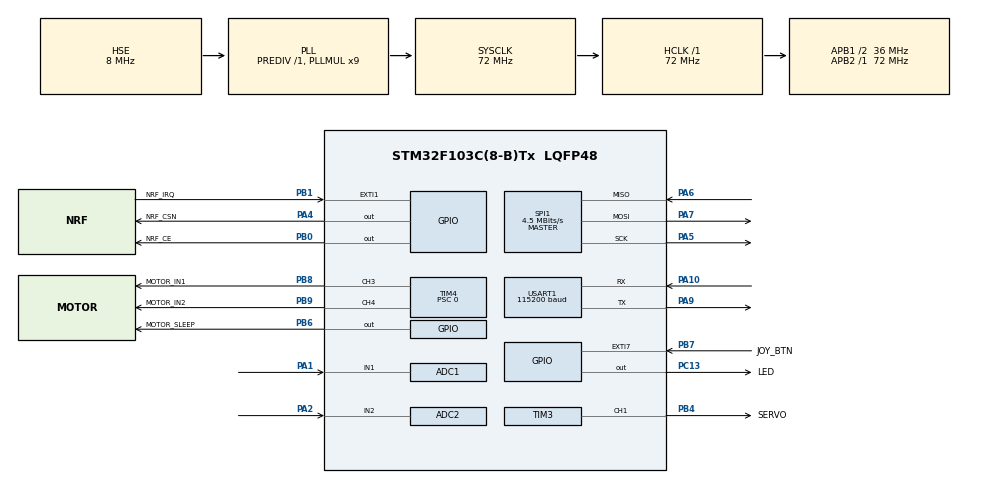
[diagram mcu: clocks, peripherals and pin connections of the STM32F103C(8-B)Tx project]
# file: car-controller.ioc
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ADC1.Channel-2\#ChannelRegularConversion=ADC_CHANNEL_1
ADC1.ContinuousConvMode=ENABLE
ADC1.Mode=ADC_DUALMODE_REGSIMULT
ADC1.NbrOfConversion=1
ADC1.NbrOfConversionFlag=1
ADC1.Rank-2\#ChannelRegularConversion=1
ADC1.SamplingTime-2\#ChannelRegularConversion=ADC_SAMPLETIME_1CYCLE_5
ADC1.master=1
ADC2.Channel-1\#ChannelRegularConversion=ADC_CHANNEL_2
ADC2.Mode=ADC_DUALMODE_REGSIMULT
ADC2.NbrOfConversionFlag=1
ADC2.Rank-1\#ChannelRegularConversion=1
ADC2.SamplingTime-1\#ChannelRegularConversion=ADC_SAMPLETIME_1CYCLE_5
Dma.ADC1.0.Direction=DMA_PERIPH_TO_MEMORY
Dma.ADC1.0.Instance=DMA1_Channel1
Dma.ADC1.0.MemDataAlignment=DMA_MDATAALIGN_WORD
Dma.ADC1.0.MemInc=DMA_MINC_ENABLE
Dma.ADC1.0.Mode=DMA_NORMAL
Dma.ADC1.0.PeriphDataAlignment=DMA_PDATAALIGN_WORD
Dma.ADC1.0.PeriphInc=DMA_PINC_DISABLE
Dma.ADC1.0.Priority=DMA_PRIORITY_LOW
Dma.Request0=ADC1
FREERTOS.Queues01=qMotor,64,int16_t,0,Dynamic,NULL,NULL;qSteer,64,int16_t,0,Dynamic,NULL,NULL
FREERTOS.Tasks01=defaultTask,8,128,StartDefaultTask,Default,NULL,Dynamic,NULL,NULL;joystickTask,8,128,StartJoistickTask,Default,NULL,Dynamic,NULL,NULL;motorTask,24,128,StartMotorTask,Default,NULL,Dynamic,NULL,NULL;steerTask,24,128,StartSteerTask,Default,NULL,Dynamic,NULL,NULL
FREERTOS.configGENERATE_RUN_TIME_STATS=1
FREERTOS.configMAX_TASK_NAME_LEN=16
FREERTOS.configTOTAL_HEAP_SIZE=3840
FREERTOS.configUSE_STATS_FORMATTING_FUNCTIONS=1
FREERTOS.configUSE_TRACE_FACILITY=1
Mcu.Family=STM32F1
Mcu.Name=STM32F103C(8-B)Tx
Mcu.Package=LQFP48
NVIC.DMA1_Channel1_IRQn=true\:5\:0\:false\:false\:true\:true\:false\:true
NVIC.PriorityGroup=NVIC_PRIORITYGROUP_4
NVIC.TIM1_UP_IRQn=true\:0\:0\:false\:false\:true\:false\:false\:true
NVIC.TimeBase=TIM1_UP_IRQn
NVIC.TimeBaseIP=TIM1
PA1.Signal=ADCx_IN1
PA10.Mode=Asynchronous
PA10.Signal=USART1_RX
PA13.Mode=Serial_Wire
PA13.Signal=SYS_JTMS-SWDIO
PA14.Mode=Serial_Wire
PA14.Signal=SYS_JTCK-SWCLK
PA2.Signal=ADCx_IN2
PA4.GPIO_Label=NRF_CSN
PA4.Signal=GPIO_Output
PA5.Mode=Full_Duplex_Master
PA5.Signal=SPI1_SCK
PA6.Mode=Full_Duplex_Master
PA6.Signal=SPI1_MISO
PA7.Mode=Full_Duplex_Master
PA7.Signal=SPI1_MOSI
PA9.Mode=Asynchronous
PA9.Signal=USART1_TX
PB0.GPIO_Label=NRF_CE
PB0.Signal=GPIO_Output
PB1.GPIO_Label=NRF_IRQ
PB1.GPIO_ModeDefaultEXTI=GPIO_MODE_IT_FALLING
PB1.Signal=GPXTI1
PB4.GPIO_Label=SERVO
PB4.Signal=S_TIM3_CH1
PB6.GPIO_Label=MOTOR_SLEEP
PB6.Signal=GPIO_Output
PB7.GPIO_Label=JOY_BTN
PB7.GPIO_ModeDefaultEXTI=GPIO_MODE_IT_FALLING
PB7.Signal=GPXTI7
PB8.GPIO_Label=MOTOR_IN1
PB8.Signal=S_TIM4_CH3
PB9.GPIO_Label=MOTOR_IN2
PB9.Signal=S_TIM4_CH4
PC13-TAMPER-RTC.GPIO_Label=LED
PC13-TAMPER-RTC.GPIO_ModeDefaultOutputPP=GPIO_MODE_OUTPUT_OD
PC13-TAMPER-RTC.PinState=GPIO_PIN_SET
PC13-TAMPER-RTC.Signal=GPIO_Output
PD0-OSC_IN.Mode=HSE-External-Oscillator
PD0-OSC_IN.Signal=RCC_OSC_IN
PD1-OSC_OUT.Mode=HSE-External-Oscillator
PD1-OSC_OUT.Signal=RCC_OSC_OUT
ProjectManager.HeapSize=0x200
ProjectManager.StackSize=0x400
ProjectManager.TargetToolchain=STM32CubeIDE
RCC.ADCPresc=RCC_ADCPCLK2_DIV8
RCC.AHBFreq_Value=72000000
RCC.APB1CLKDivider=RCC_HCLK_DIV2
RCC.APB1Freq_Value=36000000
RCC.APB1TimFreq_Value=72000000
RCC.APB2Freq_Value=72000000
RCC.APB2TimFreq_Value=72000000
RCC.HCLKFreq_Value=72000000
RCC.PLLMUL=RCC_PLL_MUL9
RCC.PLLSourceVirtual=RCC_PLLSOURCE_HSE
RCC.SYSCLKFreq_VALUE=72000000
RCC.SYSCLKSource=RCC_SYSCLKSOURCE_PLLCLK
RCC.USBFreq_Value=72000000
SH.ADCx_IN1.0=ADC1_IN1,IN1
SH.ADCx_IN2.0=ADC2_IN2,IN2
SH.S_TIM3_CH1.0=TIM3_CH1,PWM Generation1 CH1
SH.S_TIM4_CH3.0=TIM4_CH3,PWM Generation3 CH3
SH.S_TIM4_CH4.0=TIM4_CH4,PWM Generation4 CH4
SPI1.BaudRatePrescaler=SPI_BAUDRATEPRESCALER_16
SPI1.CalculateBaudRate=4.5 MBits/s
SPI1.Direction=SPI_DIRECTION_2LINES
SPI1.Mode=SPI_MODE_MASTER
SPI1.VirtualType=VM_MASTER
TIM3.Channel-PWM\ Generation1\ CH1=TIM_CHANNEL_1
TIM3.Period=23999
TIM3.Prescaler=59
TIM4.Channel-PWM\ Generation3\ CH3=TIM_CHANNEL_3
TIM4.Channel-PWM\ Generation4\ CH4=TIM_CHANNEL_4
TIM4.Period=14399
TIM4.Prescaler=0
TIM4.Pulse-PWM\ Generation3\ CH3=0
USART1.BaudRate=115200
USART1.VirtualMode=VM_ASYNC
VP_FREERTOS_VS_CMSIS_V2.Mode=CMSIS_V2
VP_SYS_VS_tim1.Mode=TIM1
VP_TIM4_VS_ClockSourceINT.Mode=Internal
board=custom

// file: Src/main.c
/* USER CODE BEGIN Header */
/**
  ******************************************************************************
  * @file           : main.c
  * @brief          : Main program body
  ******************************************************************************
  * @attention
  *
  * <h2><center>&copy; Copyright (c) 2021 STMicroelectronics.
  * All rights reserved.</center></h2>
  *
  * This software component is licensed by ST under Ultimate Liberty license
  * SLA0044, the "License"; You may not use this file except in compliance with
  * the License. You may obtain a copy of the License at:
  *                             www.st.com/SLA0044
  *
  ******************************************************************************
  */
/* USER CODE END Header */

#include "main.h"
#include "cmsis_os.h"
#include "adc.h"
#include "dma.h"
#include "spi.h"
#include "tim.h"
#include "usart.h"
#include "gpio.h"

void SystemClock_Config(void);
void MX_FREERTOS_Init(void);

int main(void)
{

  /* MCU Configuration--------------------------------------------------------*/

  /* Reset of all peripherals, Initializes the Flash interface and the Systick. */
  HAL_Init();

  /* Configure the system clock */
  SystemClock_Config();

  /* Initialize all configured peripherals */
  MX_GPIO_Init();
  MX_DMA_Init();
  MX_ADC1_Init();
  MX_TIM4_Init();
  MX_ADC2_Init();
  MX_USART1_UART_Init();
  MX_SPI1_Init();
  MX_TIM3_Init();

  /* Init scheduler */
  osKernelInitialize();  /* Call init function for freertos objects (in freertos.c) */
  MX_FREERTOS_Init();
  /* Start scheduler */
  osKernelStart();

  /* We should never get here as control is now taken by the scheduler */
  /* Infinite loop */
  while (1)
  {

  }
}

void SystemClock_Config(void)
{
  RCC_OscInitTypeDef RCC_OscInitStruct = {0};
  RCC_ClkInitTypeDef RCC_ClkInitStruct = {0};
  RCC_PeriphCLKInitTypeDef PeriphClkInit = {0};

  /** Initializes the CPU, AHB and APB busses clocks
  */
  RCC_OscInitStruct.OscillatorType = RCC_OSCILLATORTYPE_HSE;
  RCC_OscInitStruct.HSEState = RCC_HSE_ON;
  RCC_OscInitStruct.HSEPredivValue = RCC_HSE_PREDIV_DIV1;
  RCC_OscInitStruct.HSIState = RCC_HSI_ON;
  RCC_OscInitStruct.PLL.PLLState = RCC_PLL_ON;
  RCC_OscInitStruct.PLL.PLLSource = RCC_PLLSOURCE_HSE;
  RCC_OscInitStruct.PLL.PLLMUL = RCC_PLL_MUL9;
  if (HAL_RCC_OscConfig(&RCC_OscInitStruct) != HAL_OK)
  {
    Error_Handler();
  }
  /** Initializes the CPU, AHB and APB busses clocks
  */
  RCC_ClkInitStruct.ClockType = RCC_CLOCKTYPE_HCLK|RCC_CLOCKTYPE_SYSCLK
                              |RCC_CLOCKTYPE_PCLK1|RCC_CLOCKTYPE_PCLK2;
  RCC_ClkInitStruct.SYSCLKSource = RCC_SYSCLKSOURCE_PLLCLK;
  RCC_ClkInitStruct.AHBCLKDivider = RCC_SYSCLK_DIV1;
  RCC_ClkInitStruct.APB1CLKDivider = RCC_HCLK_DIV2;
  RCC_ClkInitStruct.APB2CLKDivider = RCC_HCLK_DIV1;

  if (HAL_RCC_ClockConfig(&RCC_ClkInitStruct, FLASH_LATENCY_2) != HAL_OK)
  {
    Error_Handler();
  }
  PeriphClkInit.PeriphClockSelection = RCC_PERIPHCLK_ADC;
  PeriphClkInit.AdcClockSelection = RCC_ADCPCLK2_DIV8;
  if (HAL_RCCEx_PeriphCLKConfig(&PeriphClkInit) != HAL_OK)
  {
    Error_Handler();
  }
}

/* USER CODE BEGIN 4 */
float map(float val, float I_Min, float I_Max, float O_Min, float O_Max)
{
    return(((val - I_Min) * ((O_Max - O_Min) / (I_Max - I_Min))) + O_Min);
}

/* USER CODE END 4 */

 /**
  * @brief  Period elapsed callback in non blocking mode
  * @note   This function is called  when TIM1 interrupt took place, inside
  * HAL_TIM_IRQHandler(). It makes a direct call to HAL_IncTick() to increment
  * a global variable "uwTick" used as application time base.
  * @param  htim : TIM handle
  * @retval None
  */
void HAL_TIM_PeriodElapsedCallback(TIM_HandleTypeDef *htim)
{
  if (htim->Instance == TIM1) {
    HAL_IncTick();
  }
}

void Error_Handler(void)
{
}

/************************ (C) COPYRIGHT STMicroelectronics *****END OF FILE****/

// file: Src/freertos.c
/* USER CODE BEGIN Header */
/**
  ******************************************************************************
  * File Name          : freertos.c
  * Description        : Code for freertos applications
  ******************************************************************************
  * @attention
  *
  * <h2><center>&copy; Copyright (c) 2021 STMicroelectronics.
  * All rights reserved.</center></h2>
  *
  * This software component is licensed by ST under Ultimate Liberty license
  * SLA0044, the "License"; You may not use this file except in compliance with
  * the License. You may obtain a copy of the License at:
  *                             www.st.com/SLA0044
  *
  ******************************************************************************
  */
/* USER CODE END Header */

#include "FreeRTOS.h"
#include "task.h"
#include "main.h"
#include "cmsis_os.h"

/* USER CODE BEGIN Includes */
#include <stdlib.h>

#include "gpio.h"
#include "usart.h"
#include "adc.h"
#include "tim.h"
#include "queue.h"
//#include "iwdg.h"
/* USER CODE END Includes */

/* USER CODE BEGIN Variables */
uint8_t adcReady;

/* USER CODE END Variables */
/* Definitions for defaultTask */
osThreadId_t defaultTaskHandle;
const osThreadAttr_t defaultTask_attributes = {
  .name = "defaultTask",
  .priority = (osPriority_t) osPriorityLow,
  .stack_size = 128 * 4
};
/* Definitions for joystickTask */
osThreadId_t joystickTaskHandle;
const osThreadAttr_t joystickTask_attributes = {
  .name = "joystickTask",
  .priority = (osPriority_t) osPriorityLow,
  .stack_size = 128 * 4
};
/* Definitions for motorTask */
osThreadId_t motorTaskHandle;
const osThreadAttr_t motorTask_attributes = {
  .name = "motorTask",
  .priority = (osPriority_t) osPriorityNormal,
  .stack_size = 128 * 4
};
/* Definitions for steerTask */
osThreadId_t steerTaskHandle;
const osThreadAttr_t steerTask_attributes = {
  .name = "steerTask",
  .priority = (osPriority_t) osPriorityNormal,
  .stack_size = 128 * 4
};
/* Definitions for qMotor */
osMessageQueueId_t qMotorHandle;
const osMessageQueueAttr_t qMotor_attributes = {
  .name = "qMotor"
};
/* Definitions for qSteer */
osMessageQueueId_t qSteerHandle;
const osMessageQueueAttr_t qSteer_attributes = {
  .name = "qSteer"
};

void StartDefaultTask(void *argument);
void StartJoistickTask(void *argument);
void StartMotorTask(void *argument);
void StartSteerTask(void *argument);

void MX_FREERTOS_Init(void); /* (MISRA C 2004 rule 8.1) */

/* Hook prototypes */
void configureTimerForRunTimeStats(void);
unsigned long getRunTimeCounterValue(void);

/* USER CODE BEGIN 1 */
/* Functions needed when configGENERATE_RUN_TIME_STATS is on */
__weak void configureTimerForRunTimeStats(void)
{

}

__weak unsigned long getRunTimeCounterValue(void)
{
return 0;
}
/* USER CODE END 1 */

void MX_FREERTOS_Init(void) {

  /* Create the queue(s) */
  /* creation of qMotor */
  qMotorHandle = osMessageQueueNew (64, sizeof(int16_t), &qMotor_attributes);

  /* creation of qSteer */
  qSteerHandle = osMessageQueueNew (64, sizeof(int16_t), &qSteer_attributes);

  /* Create the thread(s) */
  /* creation of defaultTask */
  defaultTaskHandle = osThreadNew(StartDefaultTask, NULL, &defaultTask_attributes);

  /* creation of joystickTask */
  joystickTaskHandle = osThreadNew(StartJoistickTask, NULL, &joystickTask_attributes);

  /* creation of motorTask */
  motorTaskHandle = osThreadNew(StartMotorTask, NULL, &motorTask_attributes);

  /* creation of steerTask */
  steerTaskHandle = osThreadNew(StartSteerTask, NULL, &steerTask_attributes);

}

void StartDefaultTask(void *argument)
{
  /* USER CODE BEGIN StartDefaultTask */
  xprintf(&huart1, "Starting the blinker..\n");
  /* Infinite loop */
  for(;;)
  {
    ledOn();
    osDelay(LED_BLINK_PERIOD_MS / portTICK_PERIOD_MS);

    ledToggle();
    osDelay(LED_BLINK_PERIOD_MS / portTICK_PERIOD_MS);

    ledToggle();
    osDelay(LED_BLINK_PERIOD_MS / portTICK_PERIOD_MS);

    ledToggle();
    osDelay((1000 - 3 * LED_BLINK_PERIOD_MS) / portTICK_PERIOD_MS);

    //HAL_IWDG_Refresh(&hiwdg);
  }
  /* USER CODE END StartDefaultTask */
}

void StartJoistickTask(void *argument)
{
  /* USER CODE BEGIN StartJoistickTask */
  volatile uint16_t adc[2 * JS_AVG_FACTOR] = { 0, };
  int16_t  posSteer = 0, posMotor = 0;
  int16_t   calSteer = 0, calMotor = 0, calCycle = 0;

  adcReady = 0;

  HAL_ADCEx_Calibration_Start(&hadc1);
  HAL_ADCEx_Calibration_Start(&hadc2);

  osDelay(50 / portTICK_PERIOD_MS);

  HAL_ADC_Start(&hadc2);
  HAL_ADCEx_MultiModeStart_DMA(&hadc1, (uint32_t*)&adc, JS_AVG_FACTOR);

  /* Infinite loop */
  for(;;)
  {
    uint32_t adcSteer = 0, adcMotor = 0;

    if (adcReady) {
      adcReady = 0;

      if (calCycle > JS_IDLE_CYCLES) {

        for (size_t i = 0; i < 2 * JS_AVG_FACTOR; ++i) {
          if (i % 2)
            adcSteer += adc[i];
          else
            adcMotor += adc[i];
        }

        if ((!calMotor) || (calCycle > JS_IDLE_CYCLES + 250))
          calMotor = adcMotor / JS_AVG_FACTOR;

        if ((!calSteer) || (calCycle > JS_IDLE_CYCLES + 250))
          calSteer = adcSteer / JS_AVG_FACTOR;

        adcSteer = (ADC_MAX_VALUE - (adcSteer / JS_AVG_FACTOR)) /*- calSteer*/;
        adcMotor = (ADC_MAX_VALUE - (adcMotor / JS_AVG_FACTOR)) /*- calMotor*/;

        if (abs(posSteer - adcSteer) > JS_TOLERANCE) {
          posSteer = adcSteer;
          if (uxQueueSpacesAvailable(qSteerHandle)) {
            xQueueSend(qSteerHandle, &posSteer, portMAX_DELAY);
          }

          //xprintf(&huart1, "Steer: %4d\n", posSteer);
        }
        if (abs(posMotor - adcMotor) > JS_TOLERANCE) {
          posMotor = adcMotor;

          if (uxQueueSpacesAvailable(qMotorHandle)) {
            xQueueSend(qMotorHandle, &posMotor, portMAX_DELAY);
          }

          //xprintf(&huart1, "Motor: %4d\n", posMotor);
        }

        /*if ((posSteer == adcSteer) && (posMotor == adcMotor) &&
            (posSteer < 100) && (posMotor < 100))
          calCycle++;
        else
          calCycle = JS_IDLE_CYCLES + 1;
        */

        //xprintf(&huart1, "Motor: %5d; Steer: %5d\n", posMotor, posSteer);

      }
      else {
        calCycle++;
      }
      HAL_ADCEx_MultiModeStart_DMA(&hadc1, (uint32_t*)&adc, JS_AVG_FACTOR);
    }

    osDelay(FREERTOS_TASK_PERIOD_MS / portTICK_PERIOD_MS);
  }
  /* USER CODE END StartJoistickTask */
}

void StartMotorTask(void *argument)
{
  /* USER CODE BEGIN StartMotorTask */
  uint32_t arr = TIM4->ARR + 1;
  uint16_t code;
  int16_t throttle = 0;

  xprintf(&huart1, "Starting Motor PWM...\n");

  HAL_TIM_PWM_Start(&htim4, TIM_CHANNEL_3);
  HAL_TIM_PWM_Start(&htim4, TIM_CHANNEL_4);

  /* Infinite loop */
  for(;;)
  {
    if (uxQueueMessagesWaiting(qMotorHandle)) {
      if (pdPASS == xQueueReceive(qMotorHandle, &code, portMAX_DELAY)) {
        // Forward slow decay
        if (code >= ((ADC_MAX_VALUE / 2) + JS_TOLERANCE * 2)) {

          throttle = map(code, ADC_MAX_VALUE / 2, ADC_MAX_VALUE, arr / 3, arr);
          throttle = constrain(throttle, 0, arr);

          TIM4->CCR3 = 0;
          TIM4->CCR4 = throttle;
          HAL_GPIO_WritePin(MOTOR_SLEEP_GPIO_Port, MOTOR_SLEEP_Pin, GPIO_PIN_SET);
        }
        // Reverse slow decay
        else if (code < ((ADC_MAX_VALUE / 2) - JS_TOLERANCE * 2)) {
          throttle = map(code, 0, ADC_MAX_VALUE / 2, arr, arr / 3);
          throttle = constrain(throttle, 0, arr);

          TIM4->CCR3 = throttle;
          TIM4->CCR4 = 0;
          HAL_GPIO_WritePin(MOTOR_SLEEP_GPIO_Port, MOTOR_SLEEP_Pin, GPIO_PIN_SET);
        }
        //Stop
        else {
          throttle = 0;

          TIM4->CCR3 = 0;
          TIM4->CCR4 = 0;
          HAL_GPIO_WritePin(MOTOR_SLEEP_GPIO_Port, MOTOR_SLEEP_Pin, GPIO_PIN_RESET);
        }
        //xprintf(&huart1, "Motor code: %4d; throttle: %4d\n", code, throttle);
      }
    }

    osDelay(FREERTOS_TASK_PERIOD_MS / portTICK_PERIOD_MS);
  }
  /* USER CODE END StartMotorTask */
}

void StartSteerTask(void *argument)
{
  /* USER CODE BEGIN StartSteerTask */
  uint32_t arr = TIM3->ARR + 1;
  uint16_t code, pwmCode, correction = -10000;
  uint8_t angle;

  xprintf(&huart1, "Starting Steering PWM...\n");

  HAL_TIM_PWM_Start(&htim3, TIM_CHANNEL_1);

  TIM3->CCR1 = arr / 20;
  /* Infinite loop */
  for(;;)
  {
    if (uxQueueMessagesWaiting(qSteerHandle)) {
      if (pdPASS == xQueueReceive(qSteerHandle, &code, portMAX_DELAY)) {

        angle = map(code,
            0, ADC_MAX_VALUE,
            SERVO_LIMIT_DEG + SERVO_CORRECTION, 180 - SERVO_LIMIT_DEG + SERVO_CORRECTION);
        angle = constrain(angle, SERVO_LIMIT_DEG, 180 - SERVO_LIMIT_DEG);

        pwmCode = map(angle, 0, 180, arr / 50, arr / 9);
        pwmCode = constrain(pwmCode, arr / 50, arr / 9);

        TIM3->CCR1 = pwmCode;
      }
      //xprintf(&huart1, "Steer code: %4d; angle: %4d, PWM code: %4d\n", code, angle, pwmCode);
    }

    osDelay(FREERTOS_TASK_PERIOD_MS / portTICK_PERIOD_MS);
  }
  /* USER CODE END StartSteerTask */
}

/************************ (C) COPYRIGHT STMicroelectronics *****END OF FILE****/
